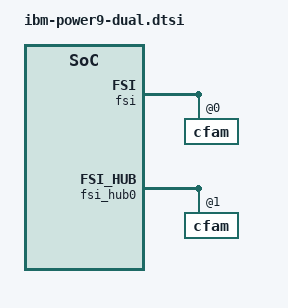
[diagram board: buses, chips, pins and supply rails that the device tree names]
// SPDX-License-Identifier: GPL-2.0+
// Copyright 2018 IBM Corp

/* Instantiate chip 0 */
#define CFAM_CHIP_ID 0
&fsi {
	cfam@0,0 {
		reg = <0 0>;
		#include "ibm-power9-cfam.dtsi"
	};
};
#undef CFAM_CHIP_ID

/* Instantiate chip 1 */
#define CFAM_CHIP_ID 1
&fsi_hub0 {
	cfam@1,0 {
		reg = <1 0>;
		#include "ibm-power9-cfam.dtsi"
	};
};
#undef CFAM_CHIP_ID

/* Legacy OCC numbering (to get rid of when userspace is fixed) */
&fsi_occ0 {
	reg = <1>;
};

&fsi_occ1 {
	reg = <2>;
};

/ {
	aliases {
		i2c100 = &cfam0_i2c0;
		i2c101 = &cfam0_i2c1;
		i2c102 = &cfam0_i2c2;
		i2c103 = &cfam0_i2c3;
		i2c104 = &cfam0_i2c4;
		i2c105 = &cfam0_i2c5;
		i2c106 = &cfam0_i2c6;
		i2c107 = &cfam0_i2c7;
		i2c108 = &cfam0_i2c8;
		i2c109 = &cfam0_i2c9;
		i2c110 = &cfam0_i2c10;
		i2c111 = &cfam0_i2c11;
		i2c112 = &cfam0_i2c12;
		i2c113 = &cfam0_i2c13;
		i2c114 = &cfam0_i2c14;
		i2c200 = &cfam1_i2c0;
		i2c201 = &cfam1_i2c1;
		i2c202 = &cfam1_i2c2;
		i2c203 = &cfam1_i2c3;
		i2c204 = &cfam1_i2c4;
		i2c205 = &cfam1_i2c5;
		i2c206 = &cfam1_i2c6;
		i2c207 = &cfam1_i2c7;
		i2c208 = &cfam1_i2c8;
		i2c209 = &cfam1_i2c9;
		i2c210 = &cfam1_i2c10;
		i2c211 = &cfam1_i2c11;
		i2c212 = &cfam1_i2c12;
		i2c213 = &cfam1_i2c13;
		i2c214 = &cfam1_i2c14;
	};
};
